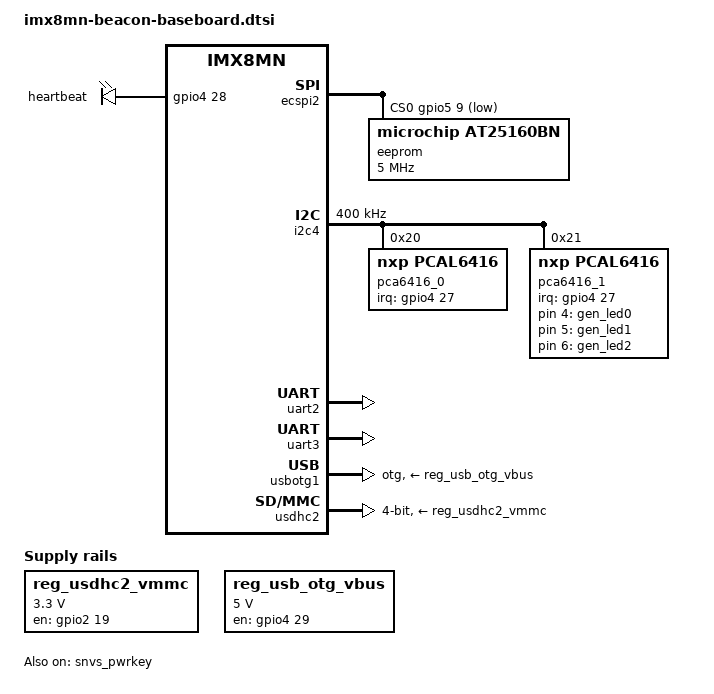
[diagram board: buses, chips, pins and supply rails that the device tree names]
// SPDX-License-Identifier: (GPL-2.0 OR MIT)
/*
 * Copyright 2020 Compass Electronics Group, LLC
 */

/ {
	leds {
		compatible = "gpio-leds";

		led-0 {
			label = "gen_led0";
			gpios = <&pca6416_1 4 GPIO_ACTIVE_HIGH>;
			default-state = "off";
		};

		led-1 {
			label = "gen_led1";
			gpios = <&pca6416_1 5 GPIO_ACTIVE_HIGH>;
			default-state = "off";
		};

		led-2 {
			label = "gen_led2";
			gpios = <&pca6416_1 6 GPIO_ACTIVE_HIGH>;
			default-state = "off";
		};

		led-3 {
			pinctrl-names = "default";
			pinctrl-0 = <&pinctrl_led3>;
			label = "heartbeat";
			gpios = <&gpio4 28 GPIO_ACTIVE_HIGH>;
			linux,default-trigger = "heartbeat";
		};
	};

	reg_usdhc2_vmmc: regulator-usdhc2 {
		compatible = "regulator-fixed";
		regulator-name = "vsd_3v3";
		regulator-min-microvolt = <3300000>;
		regulator-max-microvolt = <3300000>;
		gpio = <&gpio2 19 GPIO_ACTIVE_HIGH>;
		enable-active-high;
	};

	reg_usb_otg_vbus: regulator-usb {
		compatible = "regulator-fixed";
		pinctrl-names = "default";
		pinctrl-0 = <&pinctrl_reg_usb_otg>;
		regulator-name = "usb_otg_vbus";
		regulator-min-microvolt = <5000000>;
		regulator-max-microvolt = <5000000>;
		gpio = <&gpio4 29 GPIO_ACTIVE_HIGH>;
		enable-active-high;
	};
};

&ecspi2 {
	pinctrl-names = "default";
	pinctrl-0 = <&pinctrl_espi2>;
	cs-gpios = <&gpio5 9 GPIO_ACTIVE_LOW>;
	status = "okay";

	eeprom@0 {
		compatible = "microchip,at25160bn", "atmel,at25";
		reg = <0>;
		spi-max-frequency = <5000000>;
		spi-cpha;
		spi-cpol;
		pagesize = <32>;
		size = <2048>;
		address-width = <16>;
	};
};

&i2c4 {
	clock-frequency = <400000>;
	pinctrl-names = "default";
	pinctrl-0 = <&pinctrl_i2c4>;
	status = "okay";

	pca6416_0: gpio@20 {
		compatible = "nxp,pcal6416";
		reg = <0x20>;
		pinctrl-names = "default";
		pinctrl-0 = <&pinctrl_pcal6414>;
		gpio-controller;
		#gpio-cells = <2>;
		interrupt-parent = <&gpio4>;
		interrupts = <27 IRQ_TYPE_LEVEL_LOW>;
	};

	pca6416_1: gpio@21 {
		compatible = "nxp,pcal6416";
		reg = <0x21>;
		gpio-controller;
		#gpio-cells = <2>;
		interrupt-parent = <&gpio4>;
		interrupts = <27 IRQ_TYPE_LEVEL_LOW>;
	};
};

&snvs_pwrkey {
	status = "okay";
};

&uart2 { /* console */
	pinctrl-names = "default";
	pinctrl-0 = <&pinctrl_uart2>;
	status = "okay";
};

&uart3 {
	pinctrl-names = "default";
	pinctrl-0 = <&pinctrl_uart3>;
	assigned-clocks = <&clk IMX8MN_CLK_UART3>;
	assigned-clock-parents = <&clk IMX8MN_SYS_PLL1_80M>;
	status = "okay";
};

&usbotg1 {
	vbus-supply = <&reg_usb_otg_vbus>;
	disable-over-current;
	dr_mode="otg";
	status = "okay";
};

&usdhc2 {
	pinctrl-names = "default", "state_100mhz", "state_200mhz";
	pinctrl-0 = <&pinctrl_usdhc2>, <&pinctrl_usdhc2_gpio>;
	pinctrl-1 = <&pinctrl_usdhc2_100mhz>;
	pinctrl-2 = <&pinctrl_usdhc2_200mhz>;
	bus-width = <4>;
	vmmc-supply = <&reg_usdhc2_vmmc>;
	status = "okay";
};

&iomuxc {
	pinctrl_espi2: espi2grp {
		fsl,pins = <
			MX8MN_IOMUXC_ECSPI2_SCLK_ECSPI2_SCLK		0x82
			MX8MN_IOMUXC_ECSPI2_MOSI_ECSPI2_MOSI		0x82
			MX8MN_IOMUXC_ECSPI2_MISO_ECSPI2_MISO		0x82
			MX8MN_IOMUXC_ECSPI1_SS0_GPIO5_IO9		0x41
		>;
	};

	pinctrl_i2c2: i2c2grp {
		fsl,pins = <
			MX8MN_IOMUXC_I2C2_SCL_I2C2_SCL		0x400001c3
			MX8MN_IOMUXC_I2C2_SDA_I2C2_SDA		0x400001c3
		>;
	};

	pinctrl_i2c4: i2c4grp {
		fsl,pins = <
			MX8MN_IOMUXC_I2C4_SCL_I2C4_SCL		0x400001c3
			MX8MN_IOMUXC_I2C4_SDA_I2C4_SDA		0x400001c3
		>;
	};

	pinctrl_led3: led3grp {
		fsl,pins = <
			MX8MN_IOMUXC_SAI3_RXFS_GPIO4_IO28	0x41
		>;
	};

	pinctrl_pcal6414: pcal6414-gpiogrp {
		fsl,pins = <
			MX8MN_IOMUXC_SAI2_MCLK_GPIO4_IO27		0x19
		>;
	};

	pinctrl_reg_usb_otg: reg-otggrp {
		fsl,pins = <
			MX8MN_IOMUXC_SAI3_RXC_GPIO4_IO29     0x19
		>;
	};

	pinctrl_uart2: uart2grp {
		fsl,pins = <
			MX8MN_IOMUXC_UART2_RXD_UART2_DCE_RX	0x140
			MX8MN_IOMUXC_UART2_TXD_UART2_DCE_TX	0x140
		>;
	};

	pinctrl_uart3: uart3grp {
		fsl,pins = <
			MX8MN_IOMUXC_ECSPI1_SCLK_UART3_DCE_RX	0x40
			MX8MN_IOMUXC_ECSPI1_MOSI_UART3_DCE_TX	0x40
		>;
	};

	pinctrl_usdhc2_gpio: usdhc2gpiogrp {
		fsl,pins = <
			MX8MN_IOMUXC_SD2_CD_B_USDHC2_CD_B	0x41
			MX8MN_IOMUXC_SD2_RESET_B_GPIO2_IO19	0x41
		>;
	};

	pinctrl_usdhc2: usdhc2grp {
		fsl,pins = <
			MX8MN_IOMUXC_SD2_CLK_USDHC2_CLK	0x190
			MX8MN_IOMUXC_SD2_CMD_USDHC2_CMD	0x1d0
			MX8MN_IOMUXC_SD2_DATA0_USDHC2_DATA0	0x1d0
			MX8MN_IOMUXC_SD2_DATA1_USDHC2_DATA1	0x1d0
			MX8MN_IOMUXC_SD2_DATA2_USDHC2_DATA2	0x1d0
			MX8MN_IOMUXC_SD2_DATA3_USDHC2_DATA3	0x1d0
			MX8MN_IOMUXC_GPIO1_IO04_USDHC2_VSELECT	0x1d0
		>;
	};

	pinctrl_usdhc2_100mhz: usdhc2-100mhzgrp {
		fsl,pins = <
			MX8MN_IOMUXC_SD2_CLK_USDHC2_CLK	0x194
			MX8MN_IOMUXC_SD2_CMD_USDHC2_CMD	0x1d4
			MX8MN_IOMUXC_SD2_DATA0_USDHC2_DATA0	0x1d4
			MX8MN_IOMUXC_SD2_DATA1_USDHC2_DATA1	0x1d4
			MX8MN_IOMUXC_SD2_DATA2_USDHC2_DATA2	0x1d4
			MX8MN_IOMUXC_SD2_DATA3_USDHC2_DATA3	0x1d4
			MX8MN_IOMUXC_GPIO1_IO04_USDHC2_VSELECT	0x1d0
		>;
	};

	pinctrl_usdhc2_200mhz: usdhc2-200mhzgrp {
		fsl,pins = <
			MX8MN_IOMUXC_SD2_CLK_USDHC2_CLK	0x196
			MX8MN_IOMUXC_SD2_CMD_USDHC2_CMD	0x1d6
			MX8MN_IOMUXC_SD2_DATA0_USDHC2_DATA0	0x1d6
			MX8MN_IOMUXC_SD2_DATA1_USDHC2_DATA1	0x1d6
			MX8MN_IOMUXC_SD2_DATA2_USDHC2_DATA2	0x1d6
			MX8MN_IOMUXC_SD2_DATA3_USDHC2_DATA3	0x1d6
			MX8MN_IOMUXC_GPIO1_IO04_USDHC2_VSELECT	0x1d0
		>;
	};
};
